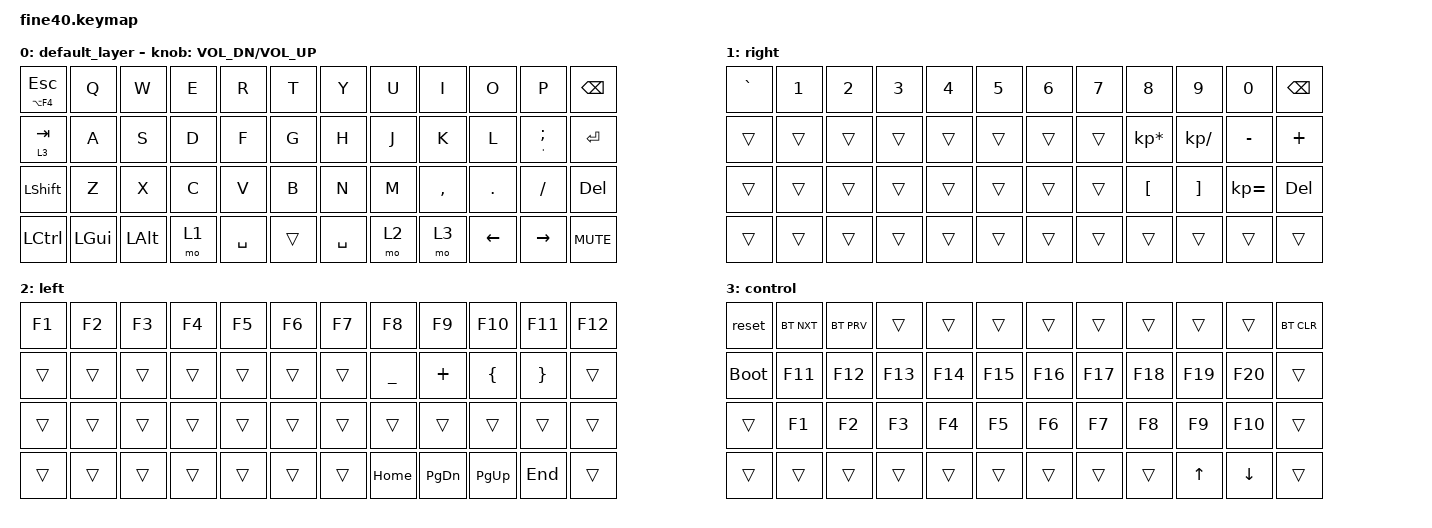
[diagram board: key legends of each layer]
/*
 * Aidan Smith (2021)
 *
 * SPDX-License-Identifier: MIT
 */

#include <behaviors.dtsi>
#include <dt-bindings/zmk/keys.h>
#include <dt-bindings/zmk/bt.h>
#include <dt-bindings/zmk/ext_power.h>

/ {
	keymap {
		compatible = "zmk,keymap";

		default_layer {
				// -----------------------------------------------------------------------------------------
				// |  ESC  |  Q   |  W   |  E   |  R   |  T   |   Y   |  U    |  I   |  O   |   P   | BSPC  |
				// |  TAB  |  A   |  S   |  D   |  F   |  G   |   H   |  J    |  K   |  L   |   ;   |  RET  |
				// | SHIFT |  Z   |  X   |  C   |  V   |  B   |   N   |  M    |  ,   |  .   |   /   |  DEL  |
				// | LCTL  | LGUI | LALT |  MO1 |        SPC  |  SPC          | MO2  | MO3  |  LEFT | RIGHT |


			bindings = <
				&mt LA(F4) ESC  &kp Q    &kp W    &kp E    &kp R &kp T     &kp Y &kp U    &kp I     &kp O    &kp P     &kp BSPC
				&lt 3 TAB       &kp A    &kp S    &kp D    &kp F &kp G     &kp H &kp J    &kp K     &kp L    &mt SQT SEMI  &kp RET
				&kp LSHFT       &kp Z    &kp X    &kp C    &kp V &kp B     &kp N &kp M    &kp COMMA &kp DOT  &kp FSLH  &kp DEL
				&kp LCTL        &kp LGUI &kp LALT &mo 1 &kp SPACE &trans  &kp SPACE &mo 2  &mo 3    &kp LEFT   &kp RIGHT    &kp C_MUTE
			>;

			sensor-bindings = <&inc_dec_kp C_VOL_DN C_VOL_UP>;
		};

		right {
			bindings = <
				&kp GRAVE &kp N1  &kp N2     &kp N3     &kp N4     &kp N5     &kp N6     &kp N7     &kp N8        &kp N9       &kp N0   &kp BSPC
				&trans    &trans  &trans     &trans     &trans     &trans     &trans     &trans     &kp KP_MULTIPLY &kp KP_DIVIDE &kp MINUS &kp PLUS
				&trans    &trans  &trans     &trans     &trans     &trans     &trans     &trans     &kp LBKT &kp RBKT &kp KP_EQUAL &kp DEL
				&trans    &trans  &trans     &trans     &trans     &trans     &trans     &trans     &trans        &trans       &trans    &trans
			>;
		};

		left {
			bindings = <
				&kp F1 &kp F2 &kp F3 &kp F4 &kp F5 &kp F6 &kp F7 &kp F8    &kp F9    &kp F10    &kp F11   &kp F12
				&trans    &trans &trans &trans &trans &trans &trans &kp UNDER &kp PLUS  &kp LBRC  &kp RBRC &trans
				&trans    &trans &trans &trans &trans &trans &trans &trans    &trans    &trans    &trans   &trans
				&trans    &trans &trans &trans &trans &trans &trans &kp HOME  &kp PG_DN &kp PG_UP &kp END  &trans
			>;
		};

		control {
			bindings = <
				&reset &bt BT_NXT &bt BT_PRV &trans &trans &trans  &trans  &trans  &trans  &trans  &trans   &bt BT_CLR
				&bootloader &kp F11 	   &kp F12    &kp F13    &kp F14    &kp F15 &kp F16 &kp F17 &kp F18 &kp F19 &kp F20 &trans
				&trans &kp F1      &kp F2     &kp F3     &kp F4     &kp F5  &kp F6  &kp F7  &kp F8  &kp F9  &kp F10 &trans
				&trans &trans      &trans     &trans     &trans     &trans  &trans  &trans  &trans  &kp UP   &kp DOWN   &trans
			>;
		};
	};
};
